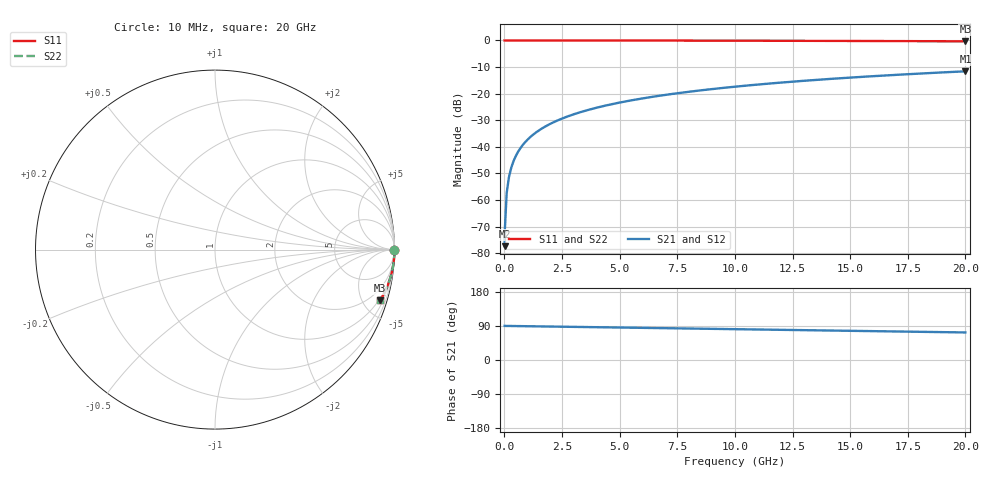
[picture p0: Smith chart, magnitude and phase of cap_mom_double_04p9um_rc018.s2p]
#  GHZ S DB R 50
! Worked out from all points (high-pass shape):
!   202 points, 10 MHz to 20 GHz, reference 50 ohm
!   highest |S21| = -11.60 dB at 20 GHz (marker M1); lowest = -77.3 dB at 10 MHz (marker M2)
!   |S21| within 3 dB of the highest: 13.9 GHz to end of sweep
!   lowest |S11| = -0.3 dB at 20 GHz (marker M3), VSWR 53.61, Z = 41.7 - j328 ohm
!   |S11| at or under -10 dB: nowhere
!   |S22| runs from -0.3 to 0.0 dB; largest |S21 - S12| = 3e-13
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0.01  -0.00 -0.0  -77.33 90.0  -77.33 90.0  -0.00 -0.0
0.02  -0.00 -0.0  -71.31 90.0  -71.31 90.0  -0.00 -0.0
0.1  -0.00 -0.1  -57.33 89.9  -57.33 89.9  -0.00 -0.1
0.2  -0.00 -0.2  -51.31 89.8  -51.31 89.8  -0.00 -0.2
0.3  -0.00 -0.3  -47.79 89.8  -47.79 89.8  -0.00 -0.3
0.4  -0.00 -0.4  -45.29 89.7  -45.29 89.7  -0.00 -0.4
0.5  -0.00 -0.4  -43.35 89.6  -43.35 89.6  -0.00 -0.4
0.6  -0.00 -0.5  -41.77 89.5  -41.77 89.5  -0.00 -0.5
0.8  -0.00 -0.7  -39.27 89.3  -39.27 89.3  -0.00 -0.7
1  -0.00 -0.9  -37.33 89.2  -37.33 89.2  -0.00 -0.9
1.3  -0.00 -1.1  -35.05 88.9  -35.05 88.9  -0.00 -1.1
1.6  -0.00 -1.4  -33.25 88.7  -33.25 88.7  -0.00 -1.4
2  -0.00 -1.8  -31.31 88.3  -31.31 88.3  -0.00 -1.8
2.4  -0.01 -2.1  -29.72 88.0  -29.72 88.0  -0.01 -2.1
3.4  -0.01 -3.0  -26.70 87.1  -26.70 87.1  -0.01 -3.0
4.9  -0.02 -4.3  -23.53 85.8  -23.53 85.8  -0.02 -4.3
6.7  -0.04 -5.8  -20.82 84.2  -20.82 84.2  -0.04 -5.8
8.3  -0.06 -7.2  -18.98 82.8  -18.98 82.8  -0.06 -7.2
10.1  -0.09 -8.8  -17.30 81.2  -17.30 81.2  -0.09 -8.8
13.4  -0.15 -11.6  -14.90 78.3  -14.90 78.3  -0.15 -11.6
16.7  -0.23 -14.4  -13.07 75.5  -13.07 75.5  -0.23 -14.4
20  -0.32 -17.1  -11.60 72.7  -11.60 72.7  -0.32 -17.1
